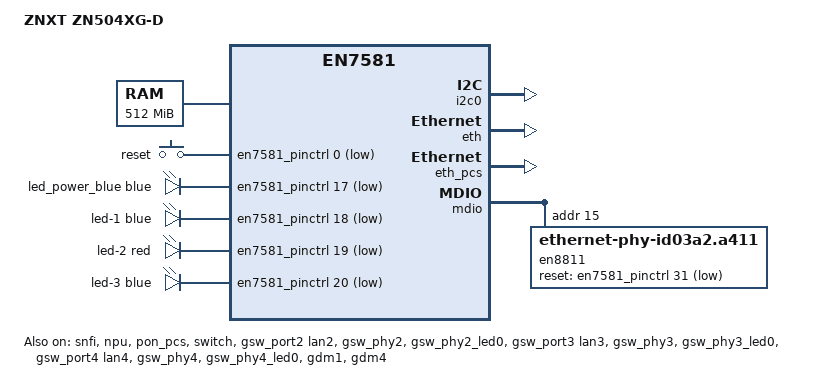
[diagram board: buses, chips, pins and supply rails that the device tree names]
// SPDX-License-Identifier: (GPL-2.0-only OR BSD-2-Clause)

/dts-v1/;

#include <dt-bindings/gpio/gpio.h>
#include <dt-bindings/input/input.h>
#include <dt-bindings/leds/common.h>
#include "an7581.dtsi"

/*
 * 板上外设与 Nokia XG-040G-MD 相同（1x 2.5G EN8811H + 3x 千兆交换机口），
 * 只是没有 USB，所以不描述 usb0/usb1、USB 灯和 USB 供电。
 *
 * 灯的颜色不同：面板与网口灯是蓝色，只有 WAN 光信号灯是红色。
 *
 * 闪存不同：F50L2G41XA 256 MiB，BL2 占前 128 KiB，其余整片 UBI。
 * 没有原厂 ri 卷，MAC 不在这里指定：驱动每次启动都会自己随机一个，改由
 * base-files/lib/preinit/90_airoha_ubi_mac 生成一次并固化到 /etc，之后每次
 * 启动都用同一个。
 */

/ {
	model = "ZNXT ZN504XG-D";
	compatible = "znxt,zn504xg-d", "airoha,an7581", "airoha,en7581";

	aliases {
		serial0 = &uart1;
		led-boot = &led_power_blue;
		led-failsafe = &led_power_blue;
		led-running = &led_power_blue;
		led-upgrade = &led_power_blue;
	};

	chosen {
		bootargs = "console=ttyS0,115200 earlycon";
		stdout-path = "serial0:115200n8";
		linux,usable-memory-range = <0x0 0x80200000 0x0 0x7fe00000>;
		rootdisk = <&ubi_fit>;
	};

	memory@80000000 {
		device_type = "memory";
		reg = <0x0 0x80000000 0x0 0x20000000>;
	};

	gpio-keys {
		compatible = "gpio-keys";

		button-0 {
			label = "reset";
			linux,code = <KEY_RESTART>;
			gpios = <&en7581_pinctrl 0 GPIO_ACTIVE_LOW>;
			debounce-interval = <60>;
		};
	};

	leds {
		compatible = "gpio-leds";

		led_power_blue: led-0 {
			color = <LED_COLOR_ID_BLUE>;
			function = LED_FUNCTION_POWER;
			gpios = <&en7581_pinctrl 17 GPIO_ACTIVE_LOW>;
			panic-indicator;
		};

		led-1 {
			color = <LED_COLOR_ID_BLUE>;
			function = LED_FUNCTION_WAN;
			gpios = <&en7581_pinctrl 18 GPIO_ACTIVE_LOW>;
		};

		led-2 {
			color = <LED_COLOR_ID_RED>;
			function = LED_FUNCTION_WAN;
			gpios = <&en7581_pinctrl 19 GPIO_ACTIVE_LOW>;
		};

		led-3 {
			color = <LED_COLOR_ID_BLUE>;
			function = LED_FUNCTION_WAN_ONLINE;
			gpios = <&en7581_pinctrl 20 GPIO_ACTIVE_LOW>;
		};
	};
};

&en7581_pinctrl {
	gpio-ranges = <&en7581_pinctrl 0 13 50>;

	mdio_pins: mdio-pins {
		mux {
			function = "mdio";
			groups = "mdio";
		};

		conf {
			pins = "gpio2";
			output-high;
		};
	};

	gswp2_led0_pins: gswp2-led0-pins {
		mux {
			function = "phy2_led0";
			pins = "gpio44";
		};
	};

	gswp3_led0_pins: gswp3-led0-pins {
		mux {
			function = "phy3_led0";
			pins = "gpio45";
		};
	};

	gswp4_led0_pins: gswp4-led0-pins {
		mux {
			function = "phy4_led0";
			pins = "gpio46";
		};
	};
};

&snfi {
	status = "okay";
};

&spi_nand {
	/* ID 2c:24 covers multiple geometries; the board compatible selects F50L2G41XA. */
	compatible = "esmt,f50l2g41xa", "spi-nand";

	partitions {
		compatible = "fixed-partitions";
		#address-cells = <1>;
		#size-cells = <1>;

		partition@0 {
			label = "bl2";
			reg = <0x0 0x20000>;
			read-only;
		};

		partition@20000 {
			label = "ubi";
			reg = <0x20000 0xffe0000>;
			compatible = "linux,ubi";

			volumes {
				ubi_fit: ubi-volume-fit {
					volname = "fit";
				};

				ubi-volume-fip {
					volname = "fip";
				};

				ubi_env: ubi-volume-ubootenv {
					volname = "ubootenv";
				};

				ubi_env2: ubi-volume-ubootenv2 {
					volname = "ubootenv2";
				};
			};
		};
	};
};

&ubi_env {
	nvmem-layout {
		compatible = "u-boot,env-redundant-bool-layout";
	};
};

&ubi_env2 {
	nvmem-layout {
		compatible = "u-boot,env-redundant-bool-layout";
	};
};

&i2c0 {
	status = "okay";
};

&npu {
	status = "okay";
};

&eth {
	status = "okay";
};

&eth_pcs {
	status = "okay";
};

&pon_pcs {
	status = "okay";
};

&mdio {
	/* LED0 的默认规则与引脚方向由驱动处理，见 generic/backport-6.18/786。 */
	en8811: ethernet-phy@f {
		compatible = "ethernet-phy-id03a2.a411";
		reg = <0xf>;

		reset-gpios = <&en7581_pinctrl 31 GPIO_ACTIVE_LOW>;
		reset-assert-us = <10000>;
		reset-deassert-us = <20000>;

		leds {
			#address-cells = <1>;
			#size-cells = <0>;

			led-0 {
				reg = <0>;
				color = <LED_COLOR_ID_BLUE>;
				function = LED_FUNCTION_LAN;
				function-enumerator = <1>;
			};
		};
	};
};

&switch {
	status = "okay";

	pinctrl-names = "default";
	pinctrl-0 = <&mdio_pins>;
};

&gsw_port2 {
	status = "okay";

	label = "lan2";
};

&gsw_phy2 {
	status = "okay";

	interrupts = <2>;

	pinctrl-names = "gbe-led";
	pinctrl-0 = <&gswp2_led0_pins>;
};

&gsw_phy2_led0 {
	status = "okay";

	color = <LED_COLOR_ID_BLUE>;
	function = LED_FUNCTION_LAN;
	function-enumerator = <2>;
	active-low;
};

&gsw_port3 {
	status = "okay";

	label = "lan3";
};

&gsw_phy3 {
	status = "okay";

	interrupts = <3>;

	pinctrl-names = "gbe-led";
	pinctrl-0 = <&gswp3_led0_pins>;
};

&gsw_phy3_led0 {
	status = "okay";

	color = <LED_COLOR_ID_BLUE>;
	function = LED_FUNCTION_LAN;
	function-enumerator = <3>;
	active-low;
};

&gsw_port4 {
	status = "okay";

	label = "lan4";
};

&gsw_phy4 {
	status = "okay";

	interrupts = <4>;

	pinctrl-names = "gbe-led";
	pinctrl-0 = <&gswp4_led0_pins>;
};

&gsw_phy4_led0 {
	status = "okay";

	color = <LED_COLOR_ID_BLUE>;
	function = LED_FUNCTION_LAN;
	function-enumerator = <4>;
	active-low;
};

&gdm1 {
	status = "okay";
};

&gdm4 {
	status = "okay";

	openwrt,netdev-name = "lan1";

	phy-handle = <&en8811>;
	phy-mode = "2500base-x";
};
